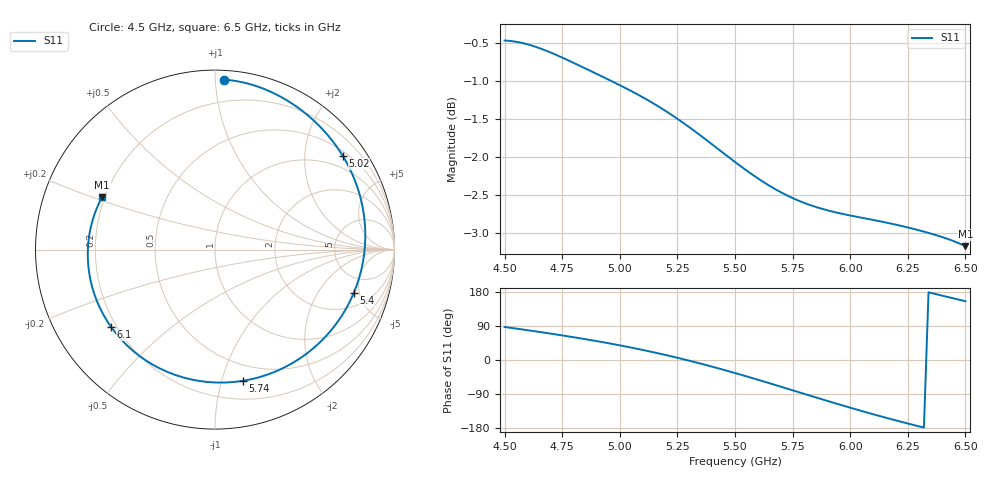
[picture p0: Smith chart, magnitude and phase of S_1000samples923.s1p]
! TOUCHSTONE file generated by CST MICROWAVE STUDIO
! Date and time: Sat Oct 29 19:51:17 2022
! Project name: L.cst
! Parameters = {Di=1.27; Epsilon_r=1.56; InnerDiameter=1.27; Length=2; Lf=10; Lg=60; OuterConductorThickness=0.2921; OuterDiameter=3.6; Wf=3; Wp=41.2; de=1.5; df=6.8; g=0.8; gx=4.43046; gy=2.2578; h=2.34; hf=1.524; px=11.5323; py=11.5778; w=9.7; wx=7.10184; wy=9.32001}
! Header version: 2018
! Port assignment regex: !\s*Touchstone port\s*([0-9]+)\s*=\s*(CST MWS port|CST DS port)\s*([0-9]+|Zmin|Zmax)\s*\(\"(.*)\"\)(\s*mode\s*([0-9]+))?.*
! Touchstone port assignment:
! Touchstone port 1 = CST MWS port 1 ("")
# GHz S DB R 50
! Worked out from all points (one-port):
!   101 points, 4.5 GHz to 6.5 GHz, reference 50 ohm
!   lowest |S11| = -3.2 dB at 6.5 GHz (marker M1), VSWR 5.53, Z = 9.47 + j10.7 ohm
!   |S11| at or under -10 dB: nowhere
!   S11 on the Smith chart (normalised r, x): 4.5 GHz: 0.06, +1.05; 5.02 GHz: 0.62, +2.93; 5.4 GHz: 3.10, -4.38; 5.74 GHz: 0.35, -1.17; 6.1 GHz: 0.18, -0.32; 6.5 GHz: 0.19, +0.21
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4.5  -0.46 87.1
4.62  -0.53 76.8
4.76  -0.70 63.9
4.88  -0.87 51.9
5  -1.05 38.6
5.02  -1.08 36.3
5.14  -1.28 21.2
5.2  -1.39 13.0
5.26  -1.52 4.4
5.34  -1.69 -7.8
5.4  -1.83 -17.5
5.5  -2.07 -34.4
5.56  -2.20 -45.0
5.62  -2.32 -55.9
5.68  -2.43 -66.9
5.74  -2.53 -78.1
5.76  -2.56 -81.8
5.82  -2.63 -93.0
5.88  -2.69 -104.1
5.94  -2.73 -115.1
6  -2.77 -125.8
6.1  -2.83 -143.2
6.18  -2.88 -156.4
6.26  -2.94 -169.1
6.32  -2.99 -178.3
6.38  -3.04 172.7
6.44  -3.10 163.8
6.5  -3.18 155.1
